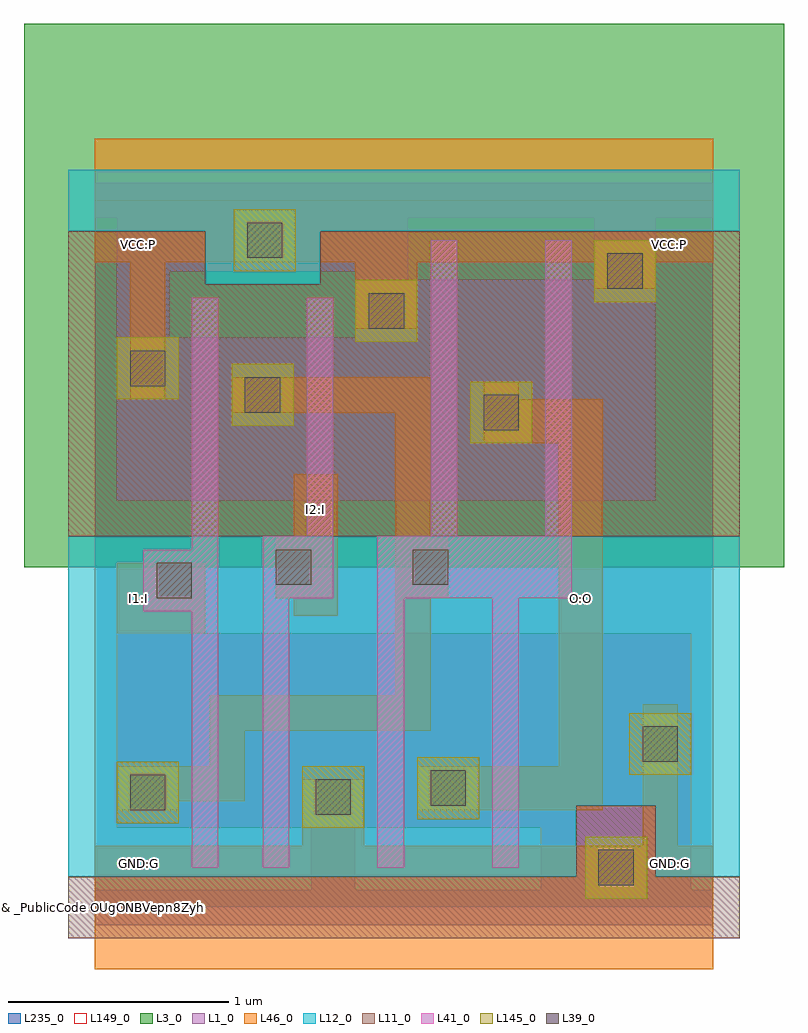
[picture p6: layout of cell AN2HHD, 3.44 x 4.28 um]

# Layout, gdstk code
from math import pi, radians
import gdstk
lib = gdstk.Library(unit=1e-6, precision=1e-09)
def R(c, l, rs):  # rectangles x0, y0, x1, y1
    for r in rs: c.add(gdstk.rectangle(r[:2], r[2:], *l))
def P(c, l, *ps):  # polygons
    for p in ps: c.add(gdstk.Polygon(p, *l))
L1_0 = (1, 0)
L3_0 = (3, 0)
L11_0 = (11, 0)
L12_0 = (12, 0)
L39_0 = (39, 0)
L41_0 = (41, 0)
L46_0 = (46, 0)
L145_0 = (145, 0)
L149_0 = (149, 0)
L235_0 = (235, 0)

c_mc = lib.new_cell('MC')
R(c_mc, L39_0, [(-0.08,-0.08,0.08,0.08)])
R(c_mc, L46_0, [(-0.08,-0.14,0.08,0.14)])
R(c_mc, L145_0, [(-0.14,-0.14,0.14,0.14)])

c_pc = lib.new_cell('PC')
R(c_pc, L39_0, [(-0.08,-0.08,0.08,0.08)])
R(c_pc, L41_0, [(-0.14,-0.14,0.14,0.14)])
R(c_pc, L46_0, [(-0.08,-0.14,0.08,0.14)])

ihlenmkdpac__41gum4xw0 = lib.new_cell('IHLENMKDPAC$$41Gum4XW0')
R(ihlenmkdpac__41gum4xw0, L1_0, [(0,-0.08,2.8,0.08), (0.98,0.08,1.18,0.36), (2.02,0.08,2.7,0.36), (0.1,0.36,2.7,1.24), (0,3.12,2.8,3.28)])
P(ihlenmkdpac__41gum4xw0, L1_0, [(2.54,3.12),(2.26,3.12),(2.26,2.84),(1.18,2.84),(1.18,2.58),(0.34,2.58),(0.34,3.12),(0.1,3.12),(0.1,1.84),(2.54,1.84)],
  [(1.42,3.12),(0.34,3.12),(0.34,2.88),(1.18,2.88),(1.18,2.84),(1.42,2.84)])
R(ihlenmkdpac__41gum4xw0, L3_0, [(-0.32,1.54,3.12,4)])
R(ihlenmkdpac__41gum4xw0, L11_0, [(-0.12,-0.14,2.92,0.14), (2.18,0.14,2.54,0.46)])
P(ihlenmkdpac__41gum4xw0, L11_0, [(2.92,3.06),(1.02,3.06),(1.02,2.82),(0.5,2.82),(0.5,3.06),(-0.12,3.06),(-0.12,1.68),(2.92,1.68)])
R(ihlenmkdpac__41gum4xw0, L12_0, [(0.5,2.82,1.02,3.06), (-0.12,3.06,2.92,3.34)])
P(ihlenmkdpac__41gum4xw0, L12_0, [(2.92,1.68),(-0.12,1.68),(-0.12,0.14),(2.18,0.14),(2.18,0.46),(2.54,0.46),(2.54,0.14),(2.92,0.14)])
R(ihlenmkdpac__41gum4xw0, L41_0, [(1.28,1.4,2.16,1.68)])
R(ihlenmkdpac__41gum4xw0, L46_0, [(0.94,0.28,1.22,0.58), (0.1,1.24,0.5,1.56), (1.18,2.62,1.46,2.92)])
R(ihlenmkdpac__41gum4xw0, L149_0, [(0,0,2.8,3.2)])
R(ihlenmkdpac__41gum4xw0, L235_0, [(0,0,2.8,3.2), (0,0,2.8,3.2), (0,0,2.8,3.2), (0,0,2.8,3.2), (0,0,2.8,3.2), (0,0,2.8,3.2), (0,0,2.8,3.2), (0,0,2.8,3.2), (0,0,2.8,3.2), (0,0,2.8,3.2), (0,0,2.8,3.2), (0,0,2.8,3.2)])
ihlenmkdpac__41gum4xw0.add(gdstk.FlexPath([(0,0),(2.8,0)], 0.56, ends="flush", simple_path=True, layer=46, datatype=0))  # L46_0
ihlenmkdpac__41gum4xw0.add(gdstk.FlexPath([(0,3.2),(2.8,3.2)], 0.56, ends="flush", simple_path=True, layer=46, datatype=0))  # L46_0
ihlenmkdpac__41gum4xw0.add(gdstk.FlexPath([(0.62,2.32),(1.44,2.32),(1.44,0.88),(0.6,0.88),(0.6,0.56),(0.1,0.56)], 0.16, ends="flush", simple_path=True, layer=46, datatype=0))  # L46_0
ihlenmkdpac__41gum4xw0.add(gdstk.FlexPath([(0.24,2.32),(0.24,2.92)], 0.16, ends="flush", simple_path=True, layer=46, datatype=0))  # L46_0
ihlenmkdpac__41gum4xw0.add(gdstk.FlexPath([(1.76,2.2),(2.2,2.2),(2.2,0.54),(1.46,0.54)], 0.2, ends="flush", simple_path=True, layer=46, datatype=0))  # L46_0
ihlenmkdpac__41gum4xw0.add(gdstk.FlexPath([(2.56,0.28),(2.56,0.92)], 0.16, ends="flush", simple_path=True, layer=46, datatype=0))  # L46_0
ihlenmkdpac__41gum4xw0.add(gdstk.FlexPath([(1,1.32),(1,1.96)], 0.2, ends="flush", simple_path=True, layer=46, datatype=0))  # L46_0
ihlenmkdpac__41gum4xw0.add(gdstk.FlexPath([(0.2,1.24),(0.2,1.56)], 0.2, ends="flush", simple_path=True, layer=46, datatype=0))  # L46_0
ihlenmkdpac__41gum4xw0.add(gdstk.FlexPath([(0.2,0),(0.2,3.2)], 0, ends="flush", simple_path=True, layer=145, datatype=0))  # L145_0
ihlenmkdpac__41gum4xw0.add(gdstk.FlexPath([(0.6,0),(0.6,3.2)], 0, ends="flush", simple_path=True, layer=145, datatype=0))  # L145_0
ihlenmkdpac__41gum4xw0.add(gdstk.FlexPath([(1,0),(1,3.2)], 0, ends="flush", simple_path=True, layer=145, datatype=0))  # L145_0
ihlenmkdpac__41gum4xw0.add(gdstk.FlexPath([(1.4,0),(1.4,3.2)], 0, ends="flush", simple_path=True, layer=145, datatype=0))  # L145_0
ihlenmkdpac__41gum4xw0.add(gdstk.FlexPath([(1.8,0),(1.8,3.2)], 0, ends="flush", simple_path=True, layer=145, datatype=0))  # L145_0
ihlenmkdpac__41gum4xw0.add(gdstk.FlexPath([(2.2,0),(2.2,3.2)], 0, ends="flush", simple_path=True, layer=145, datatype=0))  # L145_0
ihlenmkdpac__41gum4xw0.add(gdstk.FlexPath([(2.6,0),(2.6,3.2)], 0, ends="flush", simple_path=True, layer=145, datatype=0))  # L145_0
ihlenmkdpac__41gum4xw0.add(gdstk.FlexPath([(0,0.2),(2.8,0.2)], 0, ends="flush", simple_path=True, layer=145, datatype=0))  # L145_0
ihlenmkdpac__41gum4xw0.add(gdstk.FlexPath([(0,0.6),(2.8,0.6)], 0, ends="flush", simple_path=True, layer=145, datatype=0))  # L145_0
ihlenmkdpac__41gum4xw0.add(gdstk.FlexPath([(0,1),(2.8,1)], 0, ends="flush", simple_path=True, layer=145, datatype=0))  # L145_0
ihlenmkdpac__41gum4xw0.add(gdstk.FlexPath([(0,1.4),(2.8,1.4)], 0, ends="flush", simple_path=True, layer=145, datatype=0))  # L145_0
ihlenmkdpac__41gum4xw0.add(gdstk.FlexPath([(0,1.8),(2.8,1.8)], 0, ends="flush", simple_path=True, layer=145, datatype=0))  # L145_0
ihlenmkdpac__41gum4xw0.add(gdstk.FlexPath([(0,2.2),(2.8,2.2)], 0, ends="flush", simple_path=True, layer=145, datatype=0))  # L145_0
ihlenmkdpac__41gum4xw0.add(gdstk.FlexPath([(0,2.6),(2.8,2.6)], 0, ends="flush", simple_path=True, layer=145, datatype=0))  # L145_0
ihlenmkdpac__41gum4xw0.add(gdstk.FlexPath([(0,3),(2.8,3)], 0, ends="flush", simple_path=True, layer=145, datatype=0))  # L145_0
ihlenmkdpac__41gum4xw0.add(gdstk.FlexPath([(0.5,0.18),(0.5,2.76)], 0.12, ends="flush", simple_path=True, layer=41, datatype=0))  # L41_0
ihlenmkdpac__41gum4xw0.add(gdstk.FlexPath([(1.02,2.76),(1.02,1.46),(0.82,1.46),(0.82,0.18)], 0.12, ends="flush", simple_path=True, layer=41, datatype=0))  # L41_0
ihlenmkdpac__41gum4xw0.add(gdstk.FlexPath([(2.1,3.02),(2.1,1.55),(1.86,1.55),(1.86,0.18)], 0.12, ends="flush", simple_path=True, layer=41, datatype=0))  # L41_0
ihlenmkdpac__41gum4xw0.add(gdstk.FlexPath([(1.58,3.02),(1.58,1.56),(1.34,1.56),(1.34,0.18)], 0.12, ends="flush", simple_path=True, layer=41, datatype=0))  # L41_0
r = gdstk.Reference(c_mc, (0.77,3.02), rotation=pi/2); r.repetition = gdstk.Repetition(1, 1, v1=(0,0.28), v2=(-0.32,0)); ihlenmkdpac__41gum4xw0.add(r)
r = gdstk.Reference(c_mc, (2.36,0.18), rotation=pi/2); r.repetition = gdstk.Repetition(1, 1, v1=(0,0.28), v2=(-0.32,0)); ihlenmkdpac__41gum4xw0.add(r)
r = gdstk.Reference(c_mc, (2.4,2.88), rotation=pi/2); r.repetition = gdstk.Repetition(1, 1, v1=(0,0.28), v2=(-0.32,0)); ihlenmkdpac__41gum4xw0.add(r)
r = gdstk.Reference(c_mc, (1.6,0.54), rotation=pi/2); r.repetition = gdstk.Repetition(1, 1, v1=(0,0.28), v2=(-0.32,0)); ihlenmkdpac__41gum4xw0.add(r)
r = gdstk.Reference(c_mc, (2.56,0.74)); r.repetition = gdstk.Repetition(1, 1, v1=(0.28,0), v2=(0,0.32)); ihlenmkdpac__41gum4xw0.add(r)
r = gdstk.Reference(c_mc, (1.84,2.24)); r.repetition = gdstk.Repetition(1, 1, v1=(0.28,0), v2=(0,0.32)); ihlenmkdpac__41gum4xw0.add(r)
r = gdstk.Reference(c_mc, (1.08,0.5), rotation=pi/2); r.repetition = gdstk.Repetition(1, 1, v1=(0,0.28), v2=(-0.32,0)); ihlenmkdpac__41gum4xw0.add(r)
r = gdstk.Reference(c_mc, (1.32,2.7), rotation=pi/2); r.repetition = gdstk.Repetition(1, 1, v1=(0,0.28), v2=(-0.32,0)); ihlenmkdpac__41gum4xw0.add(r)
r = gdstk.Reference(c_mc, (0.24,0.52), rotation=pi/2); r.repetition = gdstk.Repetition(1, 1, v1=(0,0.28), v2=(-0.32,0)); ihlenmkdpac__41gum4xw0.add(r)
r = gdstk.Reference(c_mc, (0.76,2.32), rotation=pi/2); r.repetition = gdstk.Repetition(1, 1, v1=(0,0.28), v2=(-0.32,0)); ihlenmkdpac__41gum4xw0.add(r)
r = gdstk.Reference(c_mc, (0.24,2.44)); r.repetition = gdstk.Repetition(1, 1, v1=(0.28,0), v2=(0,0.32)); ihlenmkdpac__41gum4xw0.add(r)
r = gdstk.Reference(c_pc, (0.9,1.54)); r.repetition = gdstk.Repetition(1, 1, v1=(0.28,0), v2=(0,0.32)); ihlenmkdpac__41gum4xw0.add(r)
r = gdstk.Reference(c_pc, (0.36,1.48), rotation=pi/2); r.repetition = gdstk.Repetition(1, 1, v1=(0,0.28), v2=(-0.32,0)); ihlenmkdpac__41gum4xw0.add(r)
r = gdstk.Reference(c_pc, (1.52,1.54)); r.repetition = gdstk.Repetition(1, 1, v1=(0.28,0), v2=(0,0.32)); ihlenmkdpac__41gum4xw0.add(r)
ihlenmkdpac__41gum4xw0.add(gdstk.Label('#Id:7JQJaQKD4XF6RXVVPbbZNLABMd9CZLLaK99JL0406EKC574A4A3EOSP8MXXWHY99T6WBH22210RAL9', (0.02,0.02), layer=147, texttype=0))
ihlenmkdpac__41gum4xw0.add(gdstk.Label('AN2HHD', (0,0), layer=144, texttype=0))
ihlenmkdpac__41gum4xw0.add(gdstk.Label('VCC:P', (0.2,3), layer=101, texttype=0))
ihlenmkdpac__41gum4xw0.add(gdstk.Label('VCC:P', (2.6,3), layer=101, texttype=0))
ihlenmkdpac__41gum4xw0.add(gdstk.Label('GND:G', (0.2,0.2), layer=101, texttype=0))
ihlenmkdpac__41gum4xw0.add(gdstk.Label('GND:G', (2.6,0.2), layer=101, texttype=0))
ihlenmkdpac__41gum4xw0.add(gdstk.Label('I1:I', (0.2,1.4), layer=101, texttype=0))
ihlenmkdpac__41gum4xw0.add(gdstk.Label('I2:I', (1,1.8), layer=101, texttype=0))
ihlenmkdpac__41gum4xw0.add(gdstk.Label('O:O', (2.2,1.4), layer=101, texttype=0))

an2hhd = lib.new_cell('AN2HHD')
R(an2hhd, L149_0, [(0,0,2.8,3.2)])
an2hhd.add(gdstk.Reference(ihlenmkdpac__41gum4xw0, (0,0)))
an2hhd.add(gdstk.Label('& _PublicCode OUgONBVepn8Zyhuhb7nzKSFGv0ozQ4p7', (0,0), layer=3, texttype=0))
an2hhd.add(gdstk.Label('& Metric 8.96', (0,0), layer=3, texttype=0))
an2hhd.add(gdstk.Label('& Version 2009Q1V3.0', (0,0), layer=3, texttype=0))
an2hhd.add(gdstk.Label('& Product FSC0H_D_GENERIC_CORE', (0,0), layer=3, texttype=0))
an2hhd.add(gdstk.Label('& Vendor Faraday_Technology_Corp.', (0,0), layer=3, texttype=0))
an2hhd.add(gdstk.Label('#Id:7JQJaQKD4XF6RXVVPbbZNLABMd9CZLLaK99JL0406EKC574A4A3EOSP8MXXWHY99T6WBH22210RAL9', (0.02,0.02), layer=147, texttype=0))
an2hhd.add(gdstk.Label('AN2HHD', (0,0), layer=144, texttype=0))
an2hhd.add(gdstk.Label('VCC:P', (0.2,3), layer=101, texttype=0))
an2hhd.add(gdstk.Label('VCC:P', (2.6,3), layer=101, texttype=0))
an2hhd.add(gdstk.Label('GND:G', (0.2,0.2), layer=101, texttype=0))
an2hhd.add(gdstk.Label('GND:G', (2.6,0.2), layer=101, texttype=0))
an2hhd.add(gdstk.Label('I1:I', (0.2,1.4), layer=101, texttype=0))
an2hhd.add(gdstk.Label('I2:I', (1,1.8), layer=101, texttype=0))
an2hhd.add(gdstk.Label('O:O', (2.2,1.4), layer=101, texttype=0))

lib.write_gds('AN2HHD.gds')
